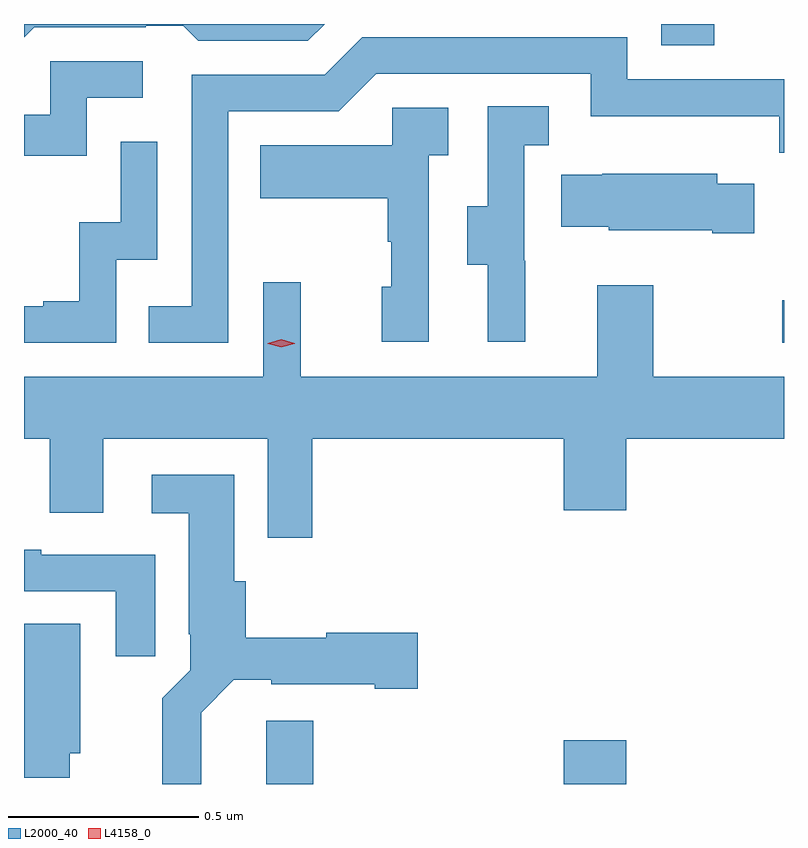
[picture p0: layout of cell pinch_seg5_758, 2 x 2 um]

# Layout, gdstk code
import gdstk
lib = gdstk.Library(unit=1e-6, precision=1e-09)
def R(c, l, rs):  # rectangles x0, y0, x1, y1
    for r in rs: c.add(gdstk.rectangle(r[:2], r[2:], *l))
def P(c, l, *ps):  # polygons
    for p in ps: c.add(gdstk.Polygon(p, *l))
L2000_40 = (2000, 40)
L4158_0 = (4158, 0)

pinch_seg5_758 = lib.new_cell('pinch_seg5_758')
R(pinch_seg5_758, L2000_40, [(859.529,909.132,859.652,909.298), (860.312,909.132,860.476,909.247), (860.886,910.293,860.891,910.405), (860.568,911.076,860.707,911.132)])
P(pinch_seg5_758, L2000_40, [(859.682,911.132),(858.891,911.132),(858.891,911.097),(858.918,911.124),(859.211,911.124),(859.211,911.127),(859.31,911.127),(859.349,911.088),(859.638,911.088)],
  [(859.428,910.902),(859.719,910.902),(859.818,911.001),(860.382,911.001),(860.382,910.889),(860.878,910.889),(860.878,910.793),(860.891,910.793),(860.891,910.986),(860.478,910.986),(860.478,911.097),(859.781,911.097),(859.682,910.998),(859.332,910.998),(859.332,910.389),(859.219,910.389),(859.219,910.293),(859.428,910.293)],
  [(859.056,910.938),(859.204,910.938),(859.204,911.034),(858.96,911.034),(858.96,910.893),(858.891,910.893),(858.891,910.785),(859.056,910.785)],
  [(860.21,910.509),(860.208,910.509),(860.208,910.813),(860.272,910.813),(860.272,910.916),(860.112,910.916),(860.112,910.653),(860.057,910.653),(860.057,910.498),(860.111,910.498),(860.111,910.296),(860.21,910.296)],
  [(859.956,910.787),(860.008,910.787),(860.008,910.911),(859.86,910.911),(859.86,910.813),(859.513,910.813),(859.513,910.673),(859.848,910.673),(859.848,910.559),(859.858,910.559),(859.858,910.44),(859.832,910.44),(859.832,910.296),(859.956,910.296)],
  [(859.134,910.512),(859.242,910.512),(859.242,910.822),(859.146,910.822),(859.146,910.61),(859.037,910.61),(859.037,910.402),(858.941,910.402),(858.941,910.389),(858.891,910.389),(858.891,910.293),(859.134,910.293)],
  [(860.813,910.711),(860.715,910.711),(860.715,910.738),(860.413,910.738),(860.413,910.735),(860.305,910.735),(860.305,910.598),(860.43,910.598),(860.43,910.589),(860.702,910.589),(860.702,910.582),(860.813,910.582)],
  [(859.649,910.04),(860.312,910.04),(860.312,909.852),(860.476,909.852),(860.476,910.04),(860.891,910.04),(860.891,910.204),(860.547,910.204),(860.547,910.444),(860.399,910.444),(860.399,910.204),(859.619,910.204),(859.619,910.453),(859.521,910.453),(859.521,910.204),(858.891,910.204),(858.891,910.04),(858.959,910.04),(858.959,909.846),(859.099,909.846),(859.099,910.04),(859.533,910.04),(859.533,909.78),(859.649,909.78)],
  [(859.357,909.32),(859.443,909.407),(859.542,909.407),(859.542,909.395),(859.814,909.395),(859.814,909.383),(859.927,909.383),(859.927,909.53),(859.686,909.53),(859.686,909.517),(859.475,909.517),(859.475,909.666),(859.444,909.666),(859.444,909.946),(859.227,909.946),(859.227,909.845),(859.325,909.845),(859.325,909.526),(859.329,909.526),(859.329,909.432),(859.255,909.358),(859.255,909.132),(859.357,909.132)],
  [(859.237,909.735),(858.937,909.735),(858.937,909.748),(858.891,909.748),(858.891,909.639),(859.133,909.639),(859.133,909.468),(859.237,909.468)],
  [(859.012,909.213),(859.039,909.213),(859.039,909.554),(858.891,909.554),(858.891,909.149),(859.012,909.149)])
P(pinch_seg5_758, L4158_0, [(859.568,910.282),(859.533,910.291),(859.533,910.292),(859.533,910.292),(859.568,910.302),(859.603,910.292),(859.603,910.292),(859.603,910.291)])

lib.write_gds('pinch_seg5_758.gds')
